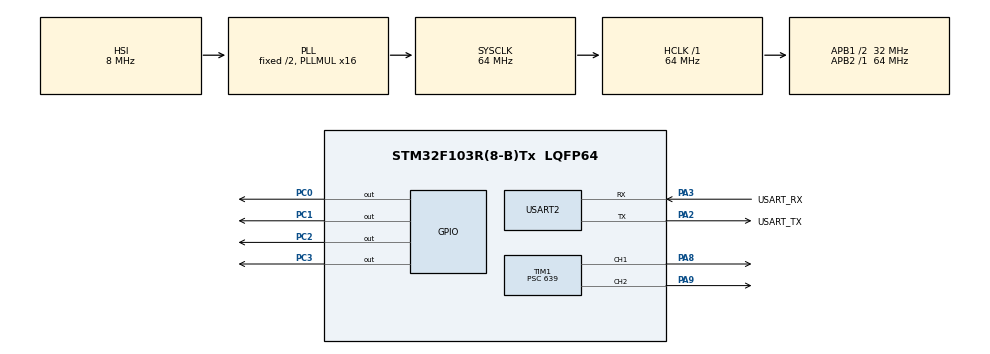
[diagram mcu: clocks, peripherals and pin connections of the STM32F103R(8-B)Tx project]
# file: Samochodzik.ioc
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Dma.Request0=USART2_RX
Dma.USART2_RX.0.Direction=DMA_PERIPH_TO_MEMORY
Dma.USART2_RX.0.Instance=DMA1_Channel6
Dma.USART2_RX.0.MemDataAlignment=DMA_MDATAALIGN_BYTE
Dma.USART2_RX.0.MemInc=DMA_MINC_ENABLE
Dma.USART2_RX.0.Mode=DMA_CIRCULAR
Dma.USART2_RX.0.PeriphDataAlignment=DMA_PDATAALIGN_BYTE
Dma.USART2_RX.0.PeriphInc=DMA_PINC_DISABLE
Dma.USART2_RX.0.Priority=DMA_PRIORITY_LOW
Mcu.Family=STM32F1
Mcu.Name=STM32F103R(8-B)Tx
Mcu.Package=LQFP64
NVIC.DMA1_Channel6_IRQn=true\:0\:0\:false\:false\:true\:false\:true
NVIC.PriorityGroup=NVIC_PRIORITYGROUP_4
PA13.GPIO_Label=TMS
PA13.Mode=Serial_Wire
PA13.Signal=SYS_JTMS-SWDIO
PA14.GPIO_Label=TCK
PA14.Mode=Serial_Wire
PA14.Signal=SYS_JTCK-SWCLK
PA2.GPIO_Label=USART_TX
PA2.GPIO_Mode=GPIO_MODE_AF_PP
PA2.GPIO_PuPd=GPIO_NOPULL
PA2.GPIO_Speed=GPIO_SPEED_FREQ_LOW
PA2.Mode=Asynchronous
PA2.Signal=USART2_TX
PA3.GPIO_Label=USART_RX
PA3.GPIO_Mode=GPIO_MODE_AF_PP
PA3.GPIO_PuPd=GPIO_NOPULL
PA3.GPIO_Speed=GPIO_SPEED_FREQ_LOW
PA3.Mode=Asynchronous
PA3.Signal=USART2_RX
PA8.Signal=S_TIM1_CH1
PA9.Signal=S_TIM1_CH2
PB3.GPIO_Label=SWO
PB3.Signal=SYS_JTDO-TRACESWO
PC0.Signal=GPIO_Output
PC1.Signal=GPIO_Output
PC14-OSC32_IN.Mode=LSE-External-Oscillator
PC14-OSC32_IN.Signal=RCC_OSC32_IN
PC15-OSC32_OUT.Mode=LSE-External-Oscillator
PC15-OSC32_OUT.Signal=RCC_OSC32_OUT
PC2.Signal=GPIO_Output
PC3.Signal=GPIO_Output
PD0-OSC_IN.Mode=HSE-External-Clock-Source
PD0-OSC_IN.Signal=RCC_OSC_IN
PD1-OSC_OUT.Mode=HSE-External-Clock-Source
PD1-OSC_OUT.Signal=RCC_OSC_OUT
ProjectManager.HeapSize=0x200
ProjectManager.StackSize=0x400
ProjectManager.TargetToolchain=STM32CubeIDE
RCC.AHBFreq_Value=64000000
RCC.APB1CLKDivider=RCC_HCLK_DIV2
RCC.APB1Freq_Value=32000000
RCC.APB1TimFreq_Value=64000000
RCC.APB2Freq_Value=64000000
RCC.APB2TimFreq_Value=64000000
RCC.HCLKFreq_Value=64000000
RCC.PLLMUL=RCC_PLL_MUL16
RCC.RTCClockSelection=RCC_RTCCLKSOURCE_LSE
RCC.SYSCLKFreq_VALUE=64000000
RCC.SYSCLKSource=RCC_SYSCLKSOURCE_PLLCLK
RCC.USBFreq_Value=64000000
SH.S_TIM1_CH1.0=TIM1_CH1,PWM Generation1 CH1
SH.S_TIM1_CH2.0=TIM1_CH2,PWM Generation2 CH2
TIM1.Channel-PWM\ Generation1\ CH1=TIM_CHANNEL_1
TIM1.Channel-PWM\ Generation2\ CH2=TIM_CHANNEL_2
TIM1.OCMode_PWM-PWM\ Generation2\ CH2=TIM_OCMODE_PWM1
TIM1.Period=99
TIM1.Prescaler=639
USART2.VirtualMode=VM_ASYNC
VP_TIM1_VS_ClockSourceINT.Mode=Internal
board=NUCLEO-F103RB

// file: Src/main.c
/* USER CODE BEGIN Header */
/**
  ******************************************************************************
  * @file           : main.c
  * @brief          : Main program body
  ******************************************************************************
  * @attention
  *
  * <h2><center>&copy; Copyright (c) 2021 STMicroelectronics.
  * All rights reserved.</center></h2>
  *
  * This software component is licensed by ST under BSD 3-Clause license,
  * the "License"; You may not use this file except in compliance with the
  * License. You may obtain a copy of the License at:
  *                        opensource.org/licenses/BSD-3-Clause
  *
  ******************************************************************************
  */
/* USER CODE END Header */

#include "main.h"
#include "dma.h"
#include "tim.h"
#include "usart.h"
#include "gpio.h"

/* USER CODE BEGIN PD */
#define MCP_IODIR 		0x00
#define MCP_IPOL 		0x01
#define MCP_GPINTEN		0x02
#define MCP_DEFVAL 		0x03
#define MCP_INTCON 		0x04
#define MCP_IOCON 		0x05
#define MCP_GPPU 		0x06
#define MCP_INTF 		0x07
#define MCP_INTCAP 		0x08
#define MCP_GPIO 		0x09
#define MCP_OLAT 		0x0A

/* USER CODE END PD */

void SystemClock_Config(void);

/* USER CODE BEGIN 0 */

void MCP_Write_Reg(uint8_t addr, uint8_t value)
{
	uint8_t tx_buf[] = {0x40, addr, value};

	GPIOA->ODR &= ~GPIO_ODR_ODR0;

	while( !(SPI1->SR & SPI_SR_TXE) );
	SPI1->DR = tx_buf[0];
	while( !(SPI1->SR & SPI_SR_TXE) );
	SPI1->DR = tx_buf[1];
	while( !(SPI1->SR & SPI_SR_TXE) );
	SPI1->DR = tx_buf[2];

	GPIOA->ODR |= GPIO_ODR_ODR0;
}

void Andzej_SPI_Init()
{
	RCC->APB2ENR = RCC_APB2ENR_IOPAEN | RCC_APB2ENR_SPI1EN;

	GPIOA->CRL |= GPIO_CRL_MODE0_0 + GPIO_CRL_MODE5_0 + GPIO_CRL_MODE7_0;
	GPIOA->CRL &= ~(GPIO_CRL_CNF0_0 + GPIO_CRL_CNF5_0 + GPIO_CRL_CNF6_0 + GPIO_CRL_CNF7_0);
	GPIOA->CRL |= GPIO_CRL_CNF5_1 + GPIO_CRL_CNF6_1 + GPIO_CRL_CNF7_1;

	SPI1->CR1 = SPI_CR1_SSM | SPI_CR1_SSI | SPI_CR1_SPE | SPI_CR1_MSTR;
}
/* USER CODE END 0 */

int main(void)
{

  /* MCU Configuration--------------------------------------------------------*/

  /* Reset of all peripherals, Initializes the Flash interface and the Systick. */
  HAL_Init();

  /* Configure the system clock */
  SystemClock_Config();

  /* Initialize all configured peripherals */
  MX_GPIO_Init();
  MX_DMA_Init();
  MX_TIM1_Init();
  MX_USART2_UART_Init();
  /* USER CODE BEGIN 2 */

  //HAL_TIM_PWM_Start(&htim1, TIM_CHANNEL_1);
  HAL_TIM_PWM_Start(&htim1, TIM_CHANNEL_2);
  Andzej_SPI_Init();
  MCP_Write_Reg(MCP_IODIR, ~0x03);

  TIM1->CCR1 = 100;
  HAL_GPIO_WritePin(GPIOC, GPIO_PIN_0, GPIO_PIN_RESET);
  HAL_GPIO_WritePin(GPIOC, GPIO_PIN_1, GPIO_PIN_RESET);

  TIM1->CCR2 = 100;
  HAL_GPIO_WritePin(GPIOC, GPIO_PIN_2, GPIO_PIN_RESET);
  HAL_GPIO_WritePin(GPIOC, GPIO_PIN_3, GPIO_PIN_RESET);
  HAL_Delay(1000);

  /* USER CODE END 2 */

  /* Infinite loop */
  /* USER CODE BEGIN WHILE */
  while (1)
  {
	  //HAL_GPIO_WritePin(GPIOC, GPIO_PIN_1, GPIO_PIN_SET);
	  /*HAL_Delay(1000);
	  MCP_Write_Reg(MCP_OLAT, 0x01);
	  HAL_Delay(1000);
	  MCP_Write_Reg(MCP_OLAT, 0x00);
	  HAL_GPIO_WritePin(GPIOC, GPIO_PIN_1, GPIO_PIN_RESET);*/

	  HAL_GPIO_WritePin(GPIOC, GPIO_PIN_2, GPIO_PIN_SET);
	  HAL_Delay(1000);
	  /*MCP_Write_Reg(MCP_OLAT, 0x02);
	  HAL_Delay(1000);
	  MCP_Write_Reg(MCP_OLAT, 0x00);*/
	  HAL_GPIO_WritePin(GPIOC, GPIO_PIN_2, GPIO_PIN_RESET);
	  HAL_Delay(1000);
    /* USER CODE END WHILE */

  }
}

void SystemClock_Config(void)
{
  RCC_OscInitTypeDef RCC_OscInitStruct = {0};
  RCC_ClkInitTypeDef RCC_ClkInitStruct = {0};

  /** Initializes the CPU, AHB and APB busses clocks
  */
  RCC_OscInitStruct.OscillatorType = RCC_OSCILLATORTYPE_HSI;
  RCC_OscInitStruct.HSIState = RCC_HSI_ON;
  RCC_OscInitStruct.HSICalibrationValue = RCC_HSICALIBRATION_DEFAULT;
  RCC_OscInitStruct.PLL.PLLState = RCC_PLL_ON;
  RCC_OscInitStruct.PLL.PLLSource = RCC_PLLSOURCE_HSI_DIV2;
  RCC_OscInitStruct.PLL.PLLMUL = RCC_PLL_MUL16;
  if (HAL_RCC_OscConfig(&RCC_OscInitStruct) != HAL_OK)
  {
    Error_Handler();
  }
  /** Initializes the CPU, AHB and APB busses clocks
  */
  RCC_ClkInitStruct.ClockType = RCC_CLOCKTYPE_HCLK|RCC_CLOCKTYPE_SYSCLK
                              |RCC_CLOCKTYPE_PCLK1|RCC_CLOCKTYPE_PCLK2;
  RCC_ClkInitStruct.SYSCLKSource = RCC_SYSCLKSOURCE_PLLCLK;
  RCC_ClkInitStruct.AHBCLKDivider = RCC_SYSCLK_DIV1;
  RCC_ClkInitStruct.APB1CLKDivider = RCC_HCLK_DIV2;
  RCC_ClkInitStruct.APB2CLKDivider = RCC_HCLK_DIV1;

  if (HAL_RCC_ClockConfig(&RCC_ClkInitStruct, FLASH_LATENCY_2) != HAL_OK)
  {
    Error_Handler();
  }
}

void Error_Handler(void)
{
}

/************************ (C) COPYRIGHT STMicroelectronics *****END OF FILE****/
